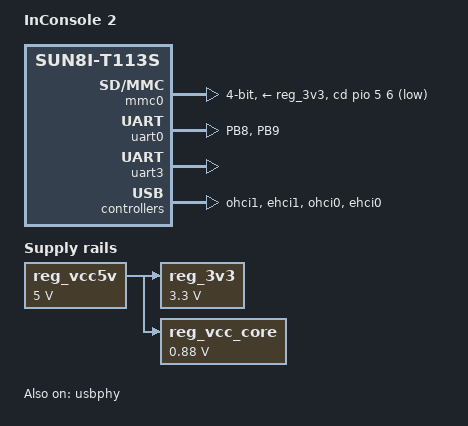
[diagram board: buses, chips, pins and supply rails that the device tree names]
// SPDX-License-Identifier: (GPL-2.0+ or MIT)
// Copyright (C) 2022 Arm Ltd.
/*
 * Common peripherals and configurations for InConsole 2.0 boards.
 */

#include <dt-bindings/interrupt-controller/irq.h>
#include <dt-bindings/gpio/gpio.h>
#include <dt-bindings/leds/common.h>

/dts-v1/;

#include "sun8i-t113s.dtsi"


/ {
	model = "InConsole 2";
	compatible = "ingraw,inconsole2", "allwinner,sun8i-t113s";

	aliases {
		serial0 = &uart0;
		serial3 = &uart3;
	};

	chosen {
		stdout-path = "serial0:115200n8";
	};

	reg_vcc5v: regulator-5v {
		compatible = "regulator-fixed";
		regulator-name = "vcc-5v";
		regulator-min-microvolt = <5000000>;
		regulator-max-microvolt = <5000000>;
		regulator-always-on;
	};

	reg_3v3: regulator-3v3 {
		compatible = "regulator-fixed";
		regulator-name = "vcc-3v3";
		regulator-min-microvolt = <3300000>;
		regulator-max-microvolt = <3300000>;
		vin-supply = <&reg_vcc5v>;
	};

	reg_vcc_core: regulator-core {
		compatible = "regulator-fixed";
		regulator-name = "vcc-core";
		regulator-min-microvolt = <880000>;
		regulator-max-microvolt = <880000>;
		vin-supply = <&reg_vcc5v>;
	};

	leds {
		compatible = "gpio-leds";
	};
};

&cpu0 {
	cpu-supply = <&reg_vcc_core>;
};

&cpu1 {
	cpu-supply = <&reg_vcc_core>;
};

&dcxo {
	clock-frequency = <24000000>;
};

&mmc0 {
	pinctrl-0 = <&mmc0_pins>;
	pinctrl-names = "default";
	vmmc-supply = <&reg_3v3>;
	cd-gpios = <&pio 5 6 GPIO_ACTIVE_LOW>;
	disable-wp;
	bus-width = <4>;
	status = "okay";
};

&pio {
	vcc-pb-supply = <&reg_3v3>;
	vcc-pd-supply = <&reg_3v3>;
	vcc-pe-supply = <&reg_3v3>;
	vcc-pf-supply = <&reg_3v3>;
	vcc-pg-supply = <&reg_3v3>;


	uart0_pb8_pins: uart0-pb8-pins {
		pins = "PB8", "PB9";
		function = "uart0";
	};
};

&uart0 {
	pinctrl-names = "default";
	pinctrl-0 = <&uart0_pb8_pins>;
	status = "okay";
};

&uart3 {
	pinctrl-names = "default";
	pinctrl-0 = <&uart3_pb_pins>;
	status = "okay";
};

&ohci1 {
	status = "okay";
};

&ehci1 {
	status = "okay";
};

&ohci0 {
	status = "okay";
};

&ehci0 {
	status = "okay";
};

&usbphy {
	usb0_vbus-supply = <&reg_vcc5v>;
	usb1_vbus-supply = <&reg_vcc5v>;
	status = "okay";
};
